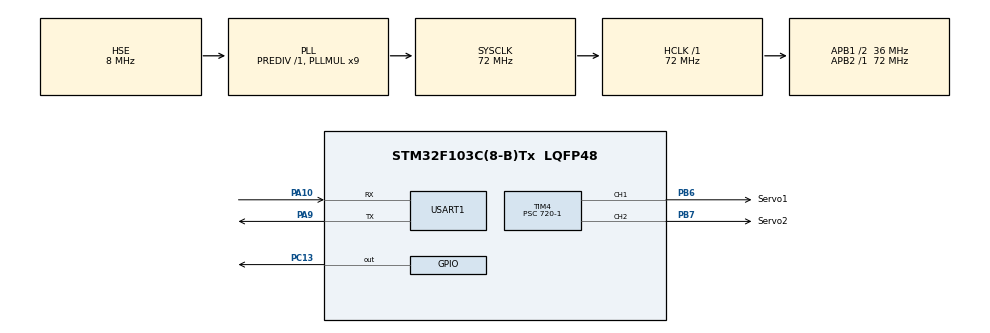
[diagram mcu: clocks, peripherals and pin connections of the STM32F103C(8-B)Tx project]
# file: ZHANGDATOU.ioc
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Dma.Request0=USART1_RX
Dma.Request1=USART1_TX
Dma.USART1_RX.0.Direction=DMA_PERIPH_TO_MEMORY
Dma.USART1_RX.0.Instance=DMA1_Channel5
Dma.USART1_RX.0.MemDataAlignment=DMA_MDATAALIGN_BYTE
Dma.USART1_RX.0.MemInc=DMA_MINC_ENABLE
Dma.USART1_RX.0.Mode=DMA_NORMAL
Dma.USART1_RX.0.PeriphDataAlignment=DMA_PDATAALIGN_BYTE
Dma.USART1_RX.0.PeriphInc=DMA_PINC_DISABLE
Dma.USART1_RX.0.Priority=DMA_PRIORITY_LOW
Dma.USART1_TX.1.Direction=DMA_MEMORY_TO_PERIPH
Dma.USART1_TX.1.Instance=DMA1_Channel4
Dma.USART1_TX.1.MemDataAlignment=DMA_MDATAALIGN_BYTE
Dma.USART1_TX.1.MemInc=DMA_MINC_ENABLE
Dma.USART1_TX.1.Mode=DMA_NORMAL
Dma.USART1_TX.1.PeriphDataAlignment=DMA_PDATAALIGN_BYTE
Dma.USART1_TX.1.PeriphInc=DMA_PINC_DISABLE
Dma.USART1_TX.1.Priority=DMA_PRIORITY_LOW
Mcu.Family=STM32F1
Mcu.Name=STM32F103C(8-B)Tx
Mcu.Package=LQFP48
NVIC.DMA1_Channel4_IRQn=true\:0\:0\:false\:false\:true\:false\:true\:true
NVIC.DMA1_Channel5_IRQn=true\:0\:0\:false\:false\:true\:false\:true\:true
NVIC.PriorityGroup=NVIC_PRIORITYGROUP_4
NVIC.TIM2_IRQn=true\:0\:0\:false\:false\:true\:true\:true\:true
NVIC.TIM4_IRQn=true\:0\:0\:false\:false\:true\:true\:true\:true
NVIC.USART1_IRQn=true\:0\:0\:false\:false\:true\:false\:true\:true
PA10.Mode=Asynchronous
PA10.Signal=USART1_RX
PA9.Mode=Asynchronous
PA9.Signal=USART1_TX
PB6.GPIO_Label=Servo1
PB6.Signal=S_TIM4_CH1
PB7.GPIO_Label=Servo2
PB7.Signal=S_TIM4_CH2
PC13-TAMPER-RTC.Signal=GPIO_Output
PD0-OSC_IN.Mode=HSE-External-Oscillator
PD0-OSC_IN.Signal=RCC_OSC_IN
PD1-OSC_OUT.Mode=HSE-External-Oscillator
PD1-OSC_OUT.Signal=RCC_OSC_OUT
ProjectManager.HeapSize=0x200
ProjectManager.StackSize=0x400
ProjectManager.TargetToolchain=CMake
RCC.AHBFreq_Value=72000000
RCC.APB1CLKDivider=RCC_HCLK_DIV2
RCC.APB1Freq_Value=36000000
RCC.APB1TimFreq_Value=72000000
RCC.APB2Freq_Value=72000000
RCC.APB2TimFreq_Value=72000000
RCC.HCLKFreq_Value=72000000
RCC.PLLMUL=RCC_PLL_MUL9
RCC.PLLSourceVirtual=RCC_PLLSOURCE_HSE
RCC.SYSCLKFreq_VALUE=72000000
RCC.SYSCLKSource=RCC_SYSCLKSOURCE_PLLCLK
RCC.USBFreq_Value=72000000
SH.S_TIM4_CH1.0=TIM4_CH1,PWM Generation1 CH1
SH.S_TIM4_CH2.0=TIM4_CH2,PWM Generation2 CH2
TIM2.Period=3000-1
TIM2.Prescaler=7200-1
TIM4.Channel-PWM\ Generation1\ CH1=TIM_CHANNEL_1
TIM4.Channel-PWM\ Generation2\ CH2=TIM_CHANNEL_2
TIM4.Period=2000-1
TIM4.Prescaler=720-1
USART1.VirtualMode=VM_ASYNC
VP_SYS_VS_ND.Mode=No_Debug
VP_TIM2_VS_ClockSourceINT.Mode=Internal
VP_TIM2_VS_OPM.Mode=OPM_bit
VP_TIM4_VS_ClockSourceINT.Mode=Internal
board=custom

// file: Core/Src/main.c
/* USER CODE BEGIN Header */
/**
  ******************************************************************************
  * @file           : main.c
  * @brief          : Main program body
  ******************************************************************************
  * @attention
  *
  * Copyright (c) 2026 STMicroelectronics.
  * All rights reserved.
  *
  * This software is licensed under terms that can be found in the LICENSE file
  * in the root directory of this software component.
  * If no LICENSE file comes with this software, it is provided AS-IS.
  *
  ******************************************************************************
  */
/* USER CODE END Header */
#include "main.h"
#include "dma.h"
#include "tim.h"
#include "usart.h"
#include "gpio.h"

/* USER CODE BEGIN Includes */
#include "Emm_V5.h"
/* USER CODE END Includes */

/* USER CODE BEGIN PV */
uint8_t receiveData[50] = {0};
int receiveFlag = 0;
int receiveDataLen = 0;
/* USER CODE END PV */

void SystemClock_Config(void);

/* USER CODE BEGIN 0 */
void HAL_UARTEx_RxEventCallback(UART_HandleTypeDef* huart, uint16_t Size)
{
    if (huart->Instance == USART1)
    {
        receiveFlag = 1;
        receiveDataLen = Size;
    }
    HAL_UARTEx_ReceiveToIdle_DMA(&huart1, receiveData, receiveDataLen);
}

/* USER CODE END 0 */

int main(void)
{

  /* MCU Configuration--------------------------------------------------------*/

  /* Reset of all peripherals, Initializes the Flash interface and the Systick. */
  HAL_Init();

  /* Configure the system clock */
  SystemClock_Config();

  /* Initialize all configured peripherals */
  MX_GPIO_Init();
  MX_DMA_Init();
  MX_USART1_UART_Init();
  MX_TIM4_Init();
  MX_TIM2_Init();
  /* USER CODE BEGIN 2 */
    HAL_UARTEx_ReceiveToIdle_DMA(&huart1, receiveData, receiveDataLen);
    HAL_Delay(1000);
    Emm_V5_Pos_Control(0, 0, 600, 150, 6400, 0, 0); //直行
    HAL_Delay(1900);
    Emm_V5_Global_Pos(0, 400, 100, 3400, 0, 0); //左转
    HAL_Delay(1400);
    Emm_V5_Pos_Control(0, 0, 600, 150, 19200, 0, 0); //直行
    HAL_Delay(3000);
    Emm_V5_Global_Pos(1, 400, 100, 3200, 0, 0); //右转
    HAL_Delay(1400);
    Emm_V5_Pos_Control(0, 0, 600, 150, 16000 * 4 / 3, 0, 0); //直行
    HAL_Delay(3100);
    Emm_V5_Global_Pos(1, 400, 60, 6800, 0, 0); //掉头
    HAL_Delay(2400);
    Emm_V5_Pos_Control(0, 0, 600, 150, 9600 * 4 / 3, 0, 0); //直行
    HAL_Delay(2100);
    Emm_V5_Global_Pos(1, 400, 100, 3400, 0, 0); //右转
    HAL_Delay(2000);
    Emm_V5_Pos_Control(0, 0, 600, 150, 3200*4/3, 0, 0); //直行
  /* USER CODE END 2 */

  /* Infinite loop */
    while (1)
    {

    }
}

void SystemClock_Config(void)
{
  RCC_OscInitTypeDef RCC_OscInitStruct = {0};
  RCC_ClkInitTypeDef RCC_ClkInitStruct = {0};

  /** Initializes the RCC Oscillators according to the specified parameters
  * in the RCC_OscInitTypeDef structure.
  */
  RCC_OscInitStruct.OscillatorType = RCC_OSCILLATORTYPE_HSE;
  RCC_OscInitStruct.HSEState = RCC_HSE_ON;
  RCC_OscInitStruct.HSEPredivValue = RCC_HSE_PREDIV_DIV1;
  RCC_OscInitStruct.HSIState = RCC_HSI_ON;
  RCC_OscInitStruct.PLL.PLLState = RCC_PLL_ON;
  RCC_OscInitStruct.PLL.PLLSource = RCC_PLLSOURCE_HSE;
  RCC_OscInitStruct.PLL.PLLMUL = RCC_PLL_MUL9;
  if (HAL_RCC_OscConfig(&RCC_OscInitStruct) != HAL_OK)
  {
    Error_Handler();
  }

  /** Initializes the CPU, AHB and APB buses clocks
  */
  RCC_ClkInitStruct.ClockType = RCC_CLOCKTYPE_HCLK|RCC_CLOCKTYPE_SYSCLK
                              |RCC_CLOCKTYPE_PCLK1|RCC_CLOCKTYPE_PCLK2;
  RCC_ClkInitStruct.SYSCLKSource = RCC_SYSCLKSOURCE_PLLCLK;
  RCC_ClkInitStruct.AHBCLKDivider = RCC_SYSCLK_DIV1;
  RCC_ClkInitStruct.APB1CLKDivider = RCC_HCLK_DIV2;
  RCC_ClkInitStruct.APB2CLKDivider = RCC_HCLK_DIV1;

  if (HAL_RCC_ClockConfig(&RCC_ClkInitStruct, FLASH_LATENCY_2) != HAL_OK)
  {
    Error_Handler();
  }
}

void Error_Handler(void)
{
    __disable_irq();
    while (1)
    {
    }
}
